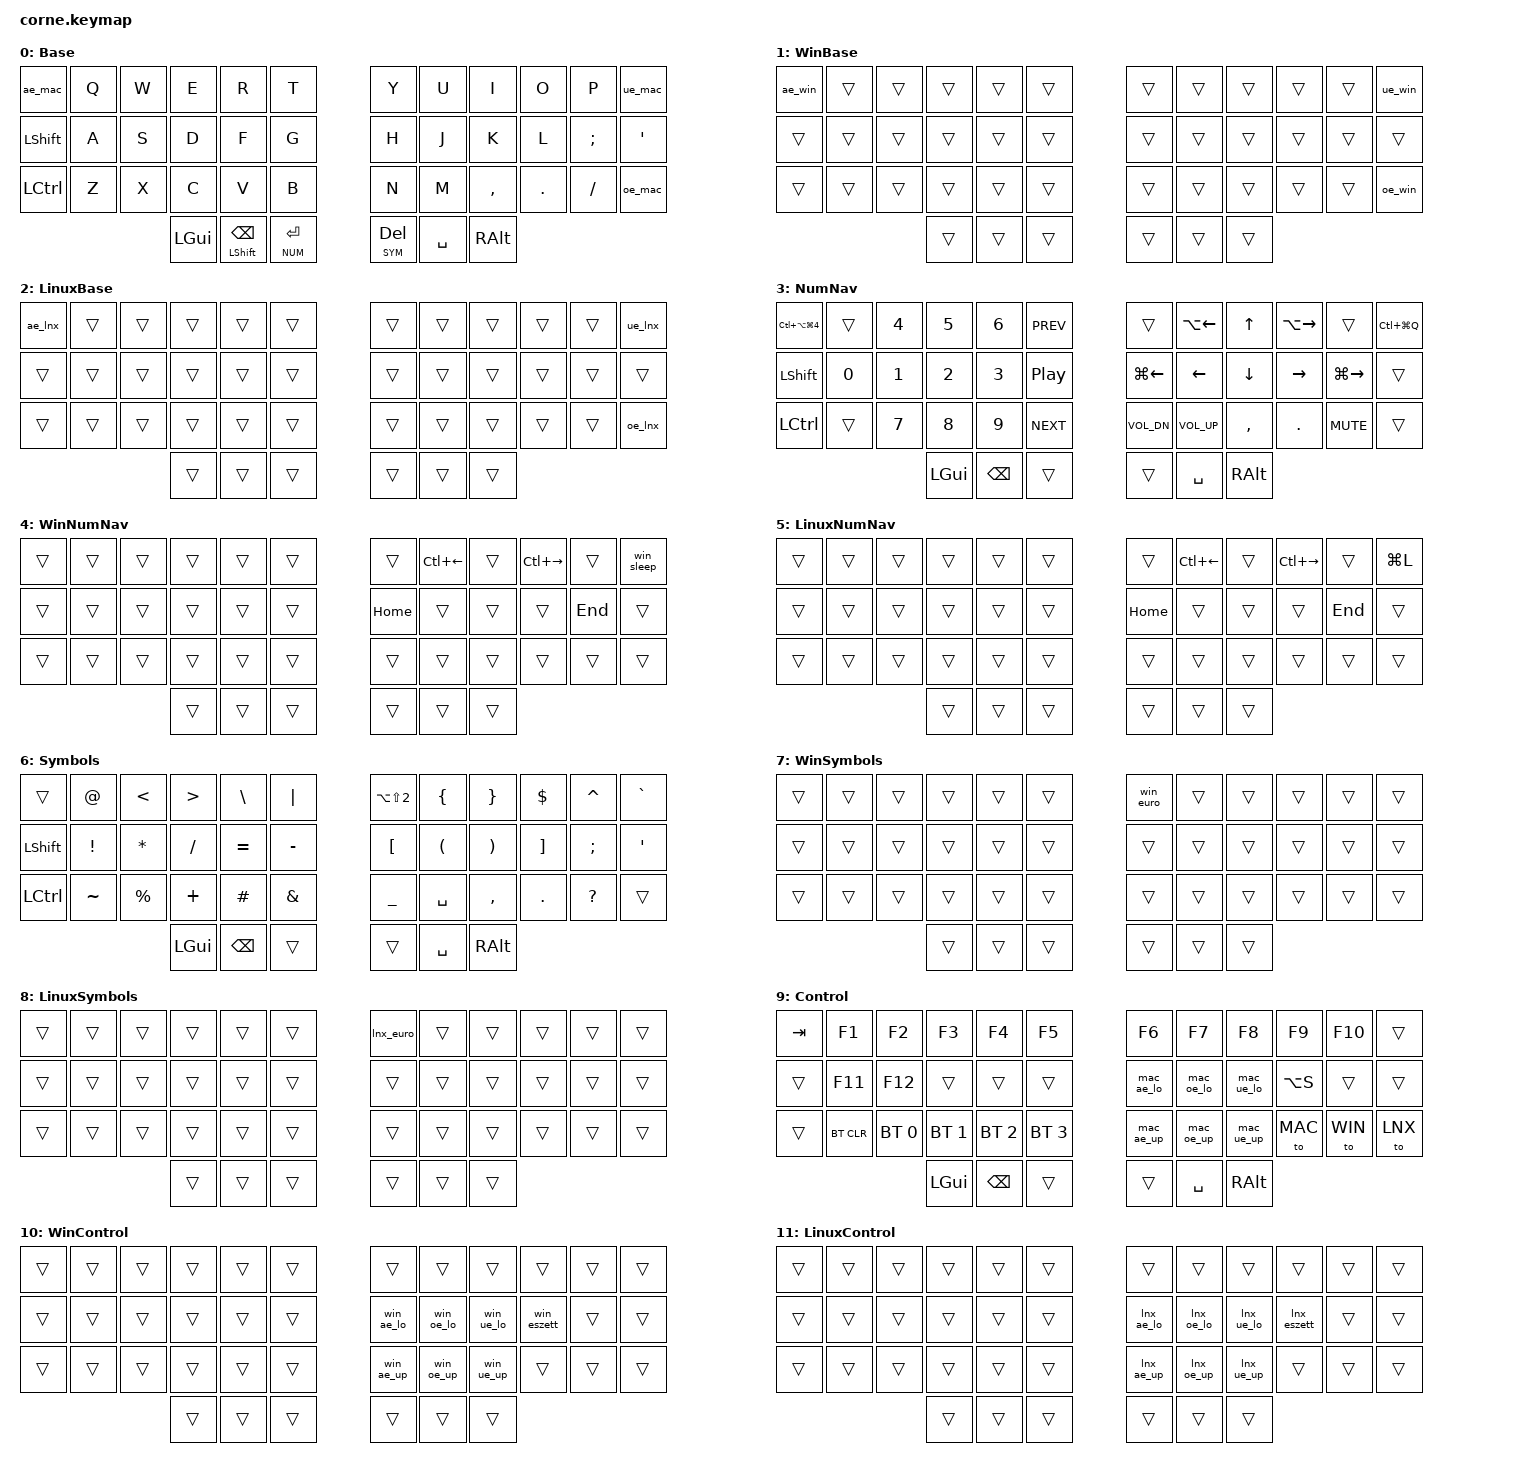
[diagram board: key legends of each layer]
/*
 * Copyright (c) 2020 The ZMK Contributors
 * SPDX-License-Identifier: MIT
 *
 * Umlaut OS switch: Mac (default) / Windows / Linux
 *   Mac     : Option+U dead key (input source "U.S." or "ABC")
 *   Windows : Alt + numpad code (NumLock on)
 *   Linux   : Ctrl+Shift+U + hex + Enter (IBus / GTK)
 *
 * Switch modes: hold both layer thumbs (Control layer), then
 *   pos 33 = Mac, pos 34 = Windows, pos 35 = Linux.
 * Mode resets to Mac after reboot / deep sleep.
 *
 * Requires zmk-helpers as a west module (see config/west.yml).
 */

#include <behaviors.dtsi>
#include <dt-bindings/zmk/bt.h>
#include <dt-bindings/zmk/keys.h>
#include "zmk-helpers/helper.h"   // must come AFTER behaviors.dtsi

/* ------------------------------------------------------------------ */
/* Layers (order of ZMK_LAYER calls below must match these numbers)   */
/* ------------------------------------------------------------------ */
#define MAC      0   /* Base, Mac bindings */
#define WIN      1   /* Base overlay, Windows (also the Windows mode flag) */
#define LNX      2   /* Base overlay, Linux (also the Linux mode flag) */
#define NUM      3
#define WIN_NUM  4
#define LNX_NUM  5
#define SYM      6
#define WIN_SYM  7
#define LNX_SYM  8
#define CTRL     9
#define WIN_CTRL 10
#define LNX_CTRL 11

#define ___ &trans

/* zmk-helpers defaults to 30 ms combos; keep ZMK's 50 ms default */
#undef COMBO_TERM
#define COMBO_TERM 50

/* ------------------------------------------------------------------ */
/* Umlaut macros                                                      */
/* ------------------------------------------------------------------ */

/* Mac: Option+U dead key, then the (shifted) vowel */
#define MAC_DK(name, key) \
    ZMK_MACRO(name, wait-ms = <10>; tap-ms = <10>; bindings = <&kp LA(U) &kp key>;)

MAC_DK(mac_ae_lo, A)
MAC_DK(mac_ae_up, LS(A))
MAC_DK(mac_oe_lo, O)
MAC_DK(mac_oe_up, LS(O))
MAC_DK(mac_ue_lo, U)
MAC_DK(mac_ue_up, LS(U))

/* Windows: hold Alt, type 4 numpad digits */
#define WIN_ALT(name, d0, d1, d2, d3)                                                 \
    ZMK_MACRO(name, wait-ms = <0>; tap-ms = <0>;                                      \
        bindings = <&macro_press &kp LALT>,                                           \
                   <&macro_tap &kp KP_N##d0 &kp KP_N##d1 &kp KP_N##d2 &kp KP_N##d3>,  \
                   <&macro_release &kp LALT>;)

WIN_ALT(win_ae_lo,  0, 2, 2, 8)
WIN_ALT(win_ae_up,  0, 1, 9, 6)
WIN_ALT(win_oe_lo,  0, 2, 4, 6)
WIN_ALT(win_oe_up,  0, 2, 1, 4)
WIN_ALT(win_ue_lo,  0, 2, 5, 2)
WIN_ALT(win_ue_up,  0, 2, 2, 0)
WIN_ALT(win_eszett, 0, 2, 2, 3)
WIN_ALT(win_euro,   0, 1, 2, 8)

/* Linux: Ctrl+Shift+U, 4 hex digits, Enter.
 * LC(LS(U)) uses implicit mods, so the mod-morph's Shift mask can't eat it. */
#define LNX_UNI(name, h0, h1, h2, h3)                                     \
    ZMK_MACRO(name, wait-ms = <5>; tap-ms = <5>;                          \
        bindings = <&kp LC(LS(U)) &kp h0 &kp h1 &kp h2 &kp h3 &kp ENTER>;)

LNX_UNI(lnx_ae_lo,  N0, N0, E,  N4)
LNX_UNI(lnx_ae_up,  N0, N0, C,  N4)
LNX_UNI(lnx_oe_lo,  N0, N0, F,  N6)
LNX_UNI(lnx_oe_up,  N0, N0, D,  N6)
LNX_UNI(lnx_ue_lo,  N0, N0, F,  C)
LNX_UNI(lnx_ue_up,  N0, N0, D,  C)
LNX_UNI(lnx_eszett, N0, N0, D,  F)
LNX_UNI(lnx_euro,   N2, N0, A,  C)

/* Shift-aware umlaut keys: tap = lowercase, Shift+tap = uppercase */
#define UMLAUT(name, lo, up) \
    ZMK_MOD_MORPH(name, bindings = <&lo>, <&up>; mods = <(MOD_LSFT|MOD_RSFT)>;)

UMLAUT(ae_mac, mac_ae_lo, mac_ae_up)
UMLAUT(oe_mac, mac_oe_lo, mac_oe_up)
UMLAUT(ue_mac, mac_ue_lo, mac_ue_up)
UMLAUT(ae_win, win_ae_lo, win_ae_up)
UMLAUT(oe_win, win_oe_lo, win_oe_up)
UMLAUT(ue_win, win_ue_lo, win_ue_up)
UMLAUT(ae_lnx, lnx_ae_lo, lnx_ae_up)
UMLAUT(oe_lnx, lnx_oe_lo, lnx_oe_up)
UMLAUT(ue_lnx, lnx_ue_lo, lnx_ue_up)

/* Other OS-specific macros */
ZMK_MACRO(win_sleep, wait-ms = <200>; bindings = <&kp LG(X) &kp R &kp E>;)

/* Readable names for the Mac shortcuts used below */
#define MAC_LINE_START  &kp LG(LEFT)
#define MAC_LINE_END    &kp LG(RIGHT)
#define MAC_WORD_LEFT   &kp LA(LEFT)
#define MAC_WORD_RIGHT  &kp LA(RIGHT)
#define MAC_LOCK        &kp LC(LG(Q))
#define MAC_ESZETT      &kp LA(S)
#define MAC_EURO        &kp LA(LS(N2))
#define SCREENSHOT      &kp LC(LA(LG(N4)))   /* Ctrl+Opt+Cmd+4 */

/* ------------------------------------------------------------------ */
/* Combos                                                             */
/* ZMK_COMBO(name, binding, key positions, layers)                    */
/* Combo layers are checked against the HIGHEST active layer, so each */
/* OS mode gets its own umlaut combos.                                */
/* ------------------------------------------------------------------ */
ZMK_COMBO(esc,          &kp ESC,        2 1)
ZMK_COMBO(tab,          &kp TAB,        2 3)
ZMK_COMBO(c_capsword,   &caps_word,     13 22)          /* A + ; */

ZMK_COMBO(c_ae_mac,     &ae_mac,        13 3, MAC)      /* A + E */
ZMK_COMBO(c_oe_mac,     &oe_mac,         9 3, MAC)      /* O + E */
ZMK_COMBO(c_ue_mac,     &ue_mac,         7 3, MAC)      /* U + E */
ZMK_COMBO(c_ae_win,     &ae_win,        13 3, WIN)
ZMK_COMBO(c_oe_win,     &oe_win,         9 3, WIN)
ZMK_COMBO(c_ue_win,     &ue_win,         7 3, WIN)
ZMK_COMBO(c_ae_lnx,     &ae_lnx,        13 3, LNX)
ZMK_COMBO(c_oe_lnx,     &oe_lnx,         9 3, LNX)
ZMK_COMBO(c_ue_lnx,     &ue_lnx,         7 3, LNX)

ZMK_COMBO(c_sz_mac,     MAC_ESZETT,     14 25, MAC)     /* S + Z = ß */
ZMK_COMBO(c_sz_win,     &win_eszett,    14 25, WIN)
ZMK_COMBO(c_sz_lnx,     &lnx_eszett,    14 25, LNX)

ZMK_COMBO(launch_mac,   &kp LG(SPACE),  37 40, MAC)     /* Spotlight */
ZMK_COMBO(launch_other, &kp LA(SPACE),  37 40, WIN LNX)

/* ------------------------------------------------------------------ */
/* Conditional layers                                                 */
/* ------------------------------------------------------------------ */
ZMK_CONDITIONAL_LAYER(control,     NUM SYM,     CTRL)
ZMK_CONDITIONAL_LAYER(win_numnav,  NUM WIN,     WIN_NUM)
ZMK_CONDITIONAL_LAYER(lnx_numnav,  NUM LNX,     LNX_NUM)
ZMK_CONDITIONAL_LAYER(win_symbols, SYM WIN,     WIN_SYM)
ZMK_CONDITIONAL_LAYER(lnx_symbols, SYM LNX,     LNX_SYM)
ZMK_CONDITIONAL_LAYER(win_control, NUM SYM WIN, WIN_CTRL)
ZMK_CONDITIONAL_LAYER(lnx_control, NUM SYM LNX, LNX_CTRL)

/* ------------------------------------------------------------------ */
/* Layers                                                             */
/* ------------------------------------------------------------------ */

/* 0: Base (Mac umlauts) */
ZMK_LAYER(Base,
&ae_mac     &kp Q  &kp W  &kp E     &kp R            &kp T            &kp Y          &kp U      &kp I      &kp O    &kp P     &ue_mac
&kp LSHIFT  &kp A  &kp S  &kp D     &kp F            &kp G            &kp H          &kp J      &kp K      &kp L    &kp SEMI  &kp SQT
&kp LCTRL   &kp Z  &kp X  &kp C     &kp V            &kp B            &kp N          &kp M      &kp COMMA  &kp DOT  &kp FSLH  &oe_mac
                          &kp LGUI  &mt LSHIFT BSPC  &lt NUM ENTER    &lt SYM DEL    &kp SPACE  &kp RALT
)

/* 1: Windows overlay for Base (also the Windows mode flag) */
ZMK_LAYER(WinBase,
&ae_win  ___  ___  ___  ___  ___    ___  ___  ___  ___  ___  &ue_win
___      ___  ___  ___  ___  ___    ___  ___  ___  ___  ___  ___
___      ___  ___  ___  ___  ___    ___  ___  ___  ___  ___  &oe_win
                   ___  ___  ___    ___  ___  ___
)

/* 2: Linux overlay for Base (also the Linux mode flag) */
ZMK_LAYER(LinuxBase,
&ae_lnx  ___  ___  ___  ___  ___    ___  ___  ___  ___  ___  &ue_lnx
___      ___  ___  ___  ___  ___    ___  ___  ___  ___  ___  ___
___      ___  ___  ___  ___  ___    ___  ___  ___  ___  ___  &oe_lnx
                   ___  ___  ___    ___  ___  ___
)

/* 3: NumNav (Mac): word jump on U/O, line start/end on H/;, screenshot top left */
ZMK_LAYER(NumNav,
SCREENSHOT  ___     &kp N4  &kp N5    &kp N6    &kp C_PREV    ___             MAC_WORD_LEFT  &kp UP     MAC_WORD_RIGHT  ___           MAC_LOCK
&kp LSHIFT  &kp N0  &kp N1  &kp N2    &kp N3    &kp C_PP      MAC_LINE_START  &kp LEFT       &kp DOWN   &kp RIGHT       MAC_LINE_END  ___
&kp LCTRL   ___     &kp N7  &kp N8    &kp N9    &kp C_NEXT    &kp C_VOL_DN    &kp C_VOL_UP   &kp COMMA  &kp DOT         &kp C_MUTE    ___
                            &kp LGUI  &kp BSPC  ___           ___             &kp SPACE      &kp RALT
)

/* 4: Windows NumNav overlay: Ctrl+arrows word jump, Home/End, sleep */
ZMK_LAYER(WinNumNav,
___  ___  ___  ___  ___  ___    ___       &kp LC(LEFT)  ___  &kp LC(RIGHT)  ___      &win_sleep
___  ___  ___  ___  ___  ___    &kp HOME  ___           ___  ___            &kp END  ___
___  ___  ___  ___  ___  ___    ___       ___           ___  ___            ___      ___
               ___  ___  ___    ___       ___           ___
)

/* 5: Linux NumNav overlay: Ctrl+arrows word jump, Home/End, Super+L lock */
ZMK_LAYER(LinuxNumNav,
___  ___  ___  ___  ___  ___    ___       &kp LC(LEFT)  ___  &kp LC(RIGHT)  ___      &kp LG(L)
___  ___  ___  ___  ___  ___    &kp HOME  ___           ___  ___            &kp END  ___
___  ___  ___  ___  ___  ___    ___       ___           ___  ___            ___      ___
               ___  ___  ___    ___       ___           ___
)

/* 6: Symbols (euro = Mac version) */
ZMK_LAYER(Symbols,
___         &kp AT     &kp LT     &kp GT     &kp BSLH   &kp PIPE     MAC_EURO    &kp LBRC   &kp RBRC   &kp DLLR  &kp CARET  &kp GRAVE
&kp LSHIFT  &kp EXCL   &kp STAR   &kp SLASH  &kp EQUAL  &kp MINUS    &kp LBKT    &kp LPAR   &kp RPAR   &kp RBKT  &kp SEMI   &kp SQT
&kp LCTRL   &kp TILDE  &kp PRCNT  &kp PLUS   &kp HASH   &kp AMPS     &kp UNDER   &kp SPACE  &kp COMMA  &kp DOT   &kp QMARK  ___
                           &kp LGUI   &kp BSPC   ___          ___         &kp SPACE  &kp RALT
)

/* 7: Windows Symbols overlay (euro) */
ZMK_LAYER(WinSymbols,
___  ___  ___  ___  ___  ___    &win_euro  ___  ___  ___  ___  ___
___  ___  ___  ___  ___  ___    ___        ___  ___  ___  ___  ___
___  ___  ___  ___  ___  ___    ___        ___  ___  ___  ___  ___
               ___  ___  ___    ___        ___  ___
)

/* 8: Linux Symbols overlay (euro) */
ZMK_LAYER(LinuxSymbols,
___  ___  ___  ___  ___  ___    &lnx_euro  ___  ___  ___  ___  ___
___  ___  ___  ___  ___  ___    ___        ___  ___  ___  ___  ___
___  ___  ___  ___  ___  ___    ___        ___  ___  ___  ___  ___
               ___  ___  ___    ___        ___  ___
)

/* 9: Control (NumNav + Symbols held): Mac umlauts, OS mode keys at 33/34/35 */
ZMK_LAYER(Control,
&kp TAB  &kp F1      &kp F2        &kp F3        &kp F4        &kp F5          &kp F6      &kp F7      &kp F8      &kp F9      &kp F10   ___
___      &kp F11     &kp F12       ___           ___           ___             &mac_ae_lo  &mac_oe_lo  &mac_ue_lo  MAC_ESZETT  ___       ___
___      &bt BT_CLR  &bt BT_SEL 0  &bt BT_SEL 1  &bt BT_SEL 2  &bt BT_SEL 3    &mac_ae_up  &mac_oe_up  &mac_ue_up  &to MAC     &to WIN   &to LNX
                                   &kp LGUI      &kp BSPC      ___             ___         &kp SPACE   &kp RALT
)

/* 10: Windows Control overlay */
ZMK_LAYER(WinControl,
___  ___  ___  ___  ___  ___    ___         ___         ___         ___          ___  ___
___  ___  ___  ___  ___  ___    &win_ae_lo  &win_oe_lo  &win_ue_lo  &win_eszett  ___  ___
___  ___  ___  ___  ___  ___    &win_ae_up  &win_oe_up  &win_ue_up  ___          ___  ___
               ___  ___  ___    ___         ___         ___
)

/* 11: Linux Control overlay */
ZMK_LAYER(LinuxControl,
___  ___  ___  ___  ___  ___    ___         ___         ___         ___          ___  ___
___  ___  ___  ___  ___  ___    &lnx_ae_lo  &lnx_oe_lo  &lnx_ue_lo  &lnx_eszett  ___  ___
___  ___  ___  ___  ___  ___    &lnx_ae_up  &lnx_oe_up  &lnx_ue_up  ___          ___  ___
               ___  ___  ___    ___         ___         ___
)
